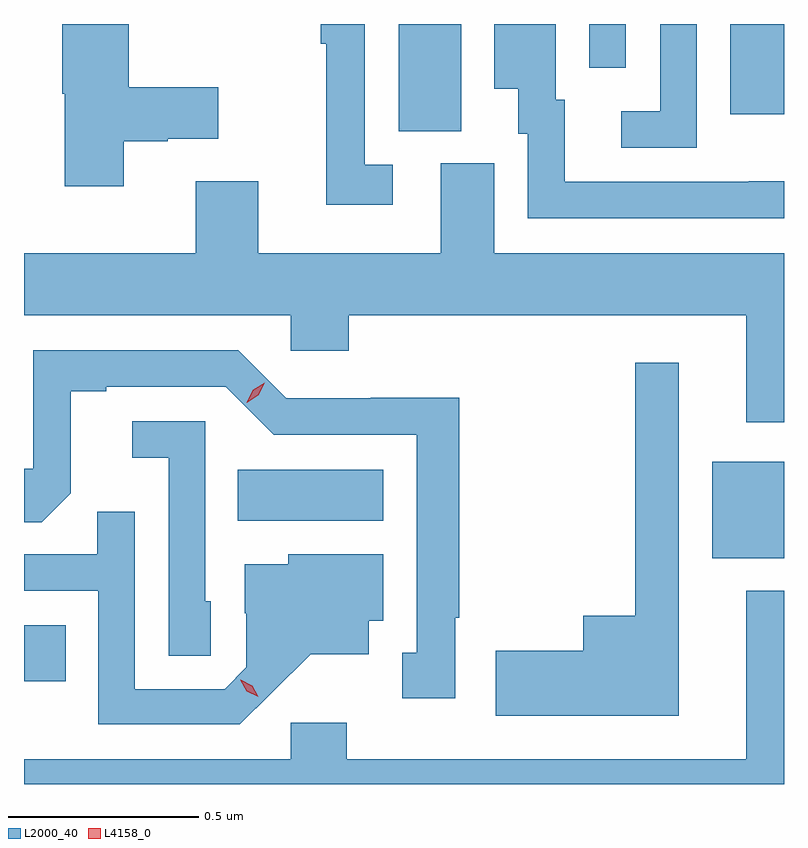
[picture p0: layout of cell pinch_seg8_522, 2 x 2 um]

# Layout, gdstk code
import gdstk
lib = gdstk.Library(unit=1e-6, precision=1e-09)
def R(c, l, rs):  # rectangles x0, y0, x1, y1
    for r in rs: c.add(gdstk.rectangle(r[:2], r[2:], *l))
def P(c, l, *ps):  # polygons
    for p in ps: c.add(gdstk.Polygon(p, *l))
L2000_40 = (2000, 40)
L4158_0 = (4158, 0)

pinch_seg8_522 = lib.new_cell('pinch_seg8_522')
R(pinch_seg8_522, L2000_40, [(200.52,1103.55,200.63,1103.697), (202.331,1103.873,202.52,1104.127), (201.082,1103.972,201.466,1104.106), (201.506,1104.997,201.67,1105.279), (202.379,1105.041,202.52,1105.279), (202.008,1105.164,202.104,1105.279)])
P(pinch_seg8_522, L2000_40, [(202.29,1105.279),(202.194,1105.279),(202.194,1105.05),(202.092,1105.05),(202.092,1104.954),(202.29,1104.954)],
  [(201.49,1104.909),(201.417,1104.909),(201.417,1105.279),(201.301,1105.279),(201.301,1105.227),(201.316,1105.227),(201.316,1104.804),(201.49,1104.804)],
  [(202.52,1104.865),(202.427,1104.865),(202.427,1104.864),(201.943,1104.864),(201.943,1105.08),(201.919,1105.08),(201.919,1105.279),(201.758,1105.279),(201.758,1105.109),(201.821,1105.109),(201.821,1104.99),(201.846,1104.99),(201.846,1104.768),(202.52,1104.768)],
  [(200.782,1104.97),(200.898,1104.97),(200.898,1104.977),(201.031,1104.977),(201.031,1105.112),(200.795,1105.112),(200.795,1105.279),(200.62,1105.279),(200.62,1105.095),(200.627,1105.095),(200.627,1104.852),(200.782,1104.852)],
  [(202.52,1104.676),(201.757,1104.676),(201.757,1104.912),(201.617,1104.912),(201.617,1104.676),(201.136,1104.676),(201.136,1104.865),(200.972,1104.865),(200.972,1104.676),(200.52,1104.676),(200.52,1104.512),(201.222,1104.512),(201.222,1104.419),(201.374,1104.419),(201.374,1104.512),(202.421,1104.512),(202.421,1104.231),(202.52,1104.231)],
  [(201.655,1103.717),(201.665,1103.717),(201.665,1104.296),(201.432,1104.296),(201.432,1104.294),(201.21,1104.294),(201.084,1104.42),(200.544,1104.42),(200.544,1104.108),(200.52,1104.108),(200.52,1103.968),(200.567,1103.968),(200.643,1104.044),(200.643,1104.312),(200.737,1104.312),(200.737,1104.324),(201.051,1104.324),(201.177,1104.198),(201.554,1104.198),(201.554,1103.625),(201.515,1103.625),(201.515,1103.505),(201.655,1103.505)],
  [(202.243,1104.388),(202.129,1104.388),(202.129,1103.722),(201.992,1103.722),(201.992,1103.63),(201.762,1103.63),(201.762,1103.459),(202.243,1103.459)],
  [(201.012,1103.76),(200.997,1103.76),(200.997,1104.234),(200.805,1104.234),(200.805,1104.137),(200.901,1104.137),(200.901,1103.617),(201.012,1103.617)],
  [(201.172,1103.519),(201.275,1103.621),(201.427,1103.621),(201.427,1103.708),(201.466,1103.708),(201.466,1103.884),(201.216,1103.884),(201.216,1103.857),(201.101,1103.857),(201.101,1103.728),(201.105,1103.728),(201.105,1103.586),(201.048,1103.529),(200.811,1103.529),(200.811,1103.996),(200.713,1103.996),(200.713,1103.883),(200.52,1103.883),(200.52,1103.787),(200.715,1103.787),(200.715,1103.436),(201.088,1103.436)],
  [(202.52,1103.788),(202.421,1103.788),(202.421,1103.344),(201.369,1103.344),(201.369,1103.44),(201.222,1103.44),(201.222,1103.344),(200.52,1103.344),(200.52,1103.279),(202.52,1103.279)])
P(pinch_seg8_522, L4158_0, [(201.106,1104.282),(201.106,1104.283),(201.123,1104.316),(201.154,1104.335),(201.154,1104.335),(201.154,1104.335),(201.137,1104.302),(201.106,1104.282)],
  [(201.136,1103.508),(201.106,1103.523),(201.089,1103.553),(201.089,1103.553),(201.09,1103.553),(201.12,1103.538),(201.136,1103.508),(201.136,1103.508)])

lib.write_gds('pinch_seg8_522.gds')
